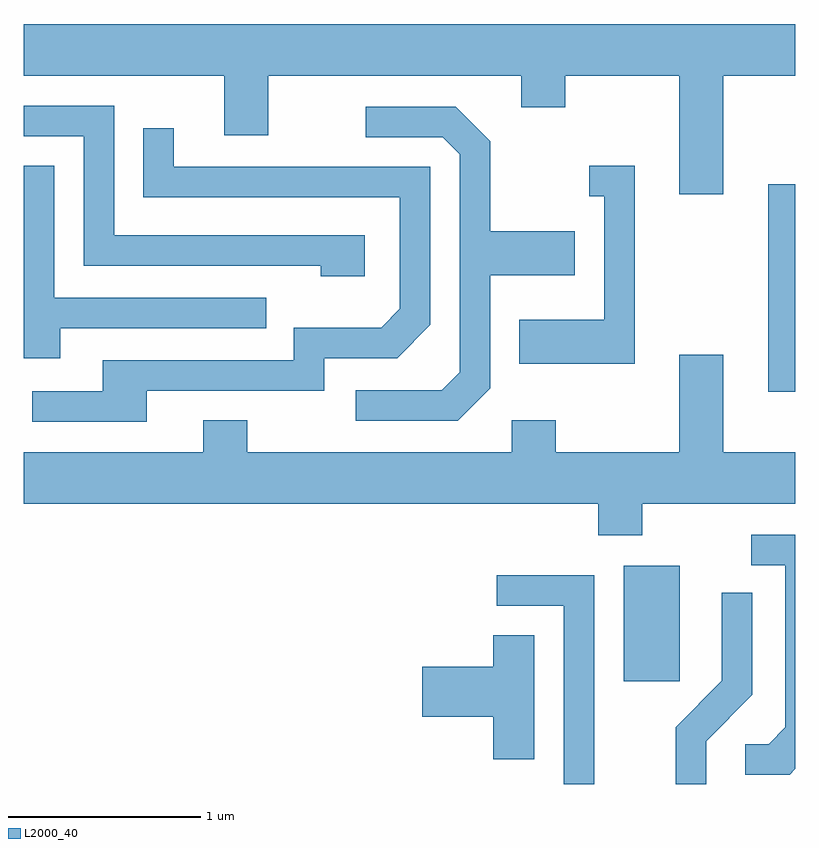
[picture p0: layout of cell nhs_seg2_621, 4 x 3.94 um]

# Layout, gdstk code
import gdstk
lib = gdstk.Library(unit=1e-6, precision=1e-09)
def R(c, l, rs):  # rectangles x0, y0, x1, y1
    for r in rs: c.add(gdstk.rectangle(r[:2], r[2:], *l))
def P(c, l, *ps):  # polygons
    for p in ps: c.add(gdstk.Polygon(p, *l))
L2000_40 = (2000, 40)

nhs_seg2_621 = lib.new_cell('nhs_seg2_621')
R(nhs_seg2_621, L2000_40, [(206.721,996.336,207.014,996.934), (207.471,997.836,207.611,998.914)])
P(nhs_seg2_621, L2000_40, [(207.239,999.476),(207.611,999.476),(207.611,999.744),(203.611,999.744),(203.611,999.476),(204.651,999.476),(204.651,999.166),(204.879,999.166),(204.879,999.476),(206.191,999.476),(206.191,999.311),(206.419,999.311),(206.419,999.476),(207.011,999.476),(207.011,998.861),(207.239,998.861)],
  [(205.379,998.649),(204.079,998.649),(204.079,999.319),(203.611,999.319),(203.611,999.161),(203.921,999.161),(203.921,998.491),(205.151,998.491),(205.151,998.436),(205.379,998.436)],
  [(206.029,997.854),(206.029,998.441),(206.469,998.441),(206.469,998.669),(206.029,998.669),(206.029,999.137),(205.852,999.314),(205.383,999.314),(205.383,999.156),(205.784,999.156),(205.871,999.069),(205.871,997.937),(205.779,997.844),(205.333,997.844),(205.333,997.686),(205.862,997.686)],
  [(204.249,997.841),(205.169,997.841),(205.169,998.011),(205.547,998.011),(205.719,998.184),(205.719,999.004),(204.389,999.004),(204.389,999.203),(204.231,999.203),(204.231,998.846),(205.561,998.846),(205.561,998.267),(205.464,998.169),(205.011,998.169),(205.011,997.999),(204.021,997.999),(204.021,997.839),(203.653,997.839),(203.653,997.681),(204.249,997.681)],
  [(206.779,999.009),(206.543,999.009),(206.543,998.851),(206.621,998.851),(206.621,998.209),(206.181,998.209),(206.181,997.981),(206.779,997.981)],
  [(203.799,998.166),(204.868,998.166),(204.868,998.324),(203.769,998.324),(203.769,999.009),(203.611,999.009),(203.611,998.011),(203.799,998.011)],
  [(206.819,997.256),(207.611,997.256),(207.611,997.524),(207.239,997.524),(207.239,998.029),(207.011,998.029),(207.011,997.524),(206.369,997.524),(206.369,997.689),(206.141,997.689),(206.141,997.524),(204.769,997.524),(204.769,997.689),(204.541,997.689),(204.541,997.524),(203.611,997.524),(203.611,997.256),(206.591,997.256),(206.591,997.091),(206.819,997.091)],
  [(207.611,995.88),(207.611,997.094),(207.383,997.094),(207.383,996.936),(207.561,996.936),(207.561,996.097),(207.474,996.009),(207.353,996.009),(207.353,995.851),(207.582,995.851)],
  [(206.569,996.884),(206.063,996.884),(206.063,996.726),(206.411,996.726),(206.411,995.802),(206.569,995.802)],
  [(207.149,996.024),(207.389,996.264),(207.389,996.793),(207.231,996.793),(207.231,996.337),(206.991,996.097),(206.991,995.802),(207.149,995.802)],
  [(206.259,996.574),(206.046,996.574),(206.046,996.409),(205.676,996.409),(205.676,996.151),(206.046,996.151),(206.046,995.931),(206.259,995.931)])

lib.write_gds('nhs_seg2_621.gds')
